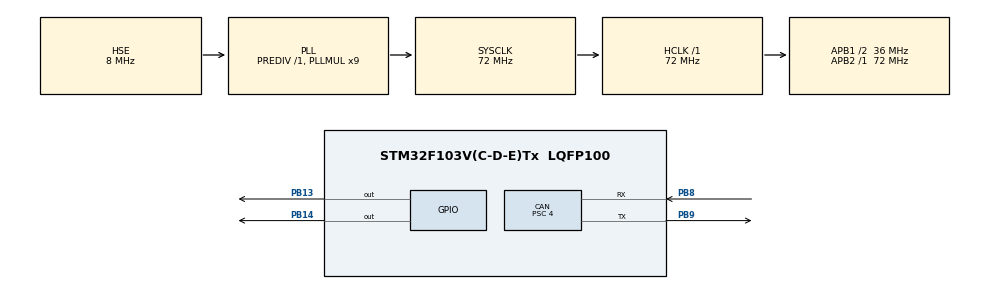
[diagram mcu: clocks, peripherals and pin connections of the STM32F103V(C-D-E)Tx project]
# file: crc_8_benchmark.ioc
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CAN.ABOM=ENABLE
CAN.BS1=CAN_BS1_14TQ
CAN.BS2=CAN_BS2_3TQ
CAN.CalculateBaudRate=500000
CAN.CalculateTimeBit=2000
CAN.CalculateTimeQuantum=111.11111111111111
CAN.Prescaler=4
CAN.SJW=CAN_SJW_2TQ
Mcu.Family=STM32F1
Mcu.Name=STM32F103V(C-D-E)Tx
Mcu.Package=LQFP100
NVIC.PriorityGroup=NVIC_PRIORITYGROUP_2
NVIC.TIM3_IRQn=true\:0\:1\:false\:false\:true\:true\:true\:true
NVIC.USB_LP_CAN1_RX0_IRQn=true\:1\:0\:true\:false\:true\:true\:true\:true
OSC_IN.Mode=HSE-External-Oscillator
OSC_IN.Signal=RCC_OSC_IN
OSC_OUT.Mode=HSE-External-Oscillator
OSC_OUT.Signal=RCC_OSC_OUT
PA13.Mode=Serial_Wire
PA13.Signal=SYS_JTMS-SWDIO
PA14.Mode=Serial_Wire
PA14.Signal=SYS_JTCK-SWCLK
PB13.GPIO_PuPd=GPIO_PULLUP
PB13.Signal=GPIO_Output
PB14.GPIO_PuPd=GPIO_PULLUP
PB14.Signal=GPIO_Output
PB8.GPIO_PuPd=GPIO_PULLUP
PB8.Mode=CAN_Activate
PB8.Signal=CAN_RX
PB9.Mode=CAN_Activate
PB9.Signal=CAN_TX
ProjectManager.HeapSize=0x200
ProjectManager.StackSize=0x400
ProjectManager.TargetToolchain=STM32CubeIDE
RCC.AHBFreq_Value=72000000
RCC.APB1CLKDivider=RCC_HCLK_DIV2
RCC.APB1Freq_Value=36000000
RCC.APB1TimFreq_Value=72000000
RCC.APB2Freq_Value=72000000
RCC.APB2TimFreq_Value=72000000
RCC.HCLKFreq_Value=72000000
RCC.PLLMUL=RCC_PLL_MUL9
RCC.PLLSourceVirtual=RCC_PLLSOURCE_HSE
RCC.SYSCLKFreq_VALUE=72000000
RCC.SYSCLKSource=RCC_SYSCLKSOURCE_PLLCLK
RCC.USBFreq_Value=72000000
TIM3.AutoReloadPreload=TIM_AUTORELOAD_PRELOAD_ENABLE
TIM3.Period=100-1
TIM3.Prescaler=720-1
VP_TIM3_VS_ClockSourceINT.Mode=Internal
board=custom

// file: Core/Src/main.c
/* USER CODE BEGIN Header */
/**
  ******************************************************************************
  * @file           : main.c
  * @brief          : Main program body
  ******************************************************************************
  * @attention
  *
  * Copyright (c) 2024 STMicroelectronics.
  * All rights reserved.
  *
  * This software is licensed under terms that can be found in the LICENSE file
  * in the root directory of this software component.
  * If no LICENSE file comes with this software, it is provided AS-IS.
  *
  ******************************************************************************
  */
/* USER CODE END Header */
#include "main.h"
#include "can.h"
#include "tim.h"
#include "gpio.h"

void SystemClock_Config(void);

int main(void)
{

  /* MCU Configuration--------------------------------------------------------*/

  /* Reset of all peripherals, Initializes the Flash interface and the Systick. */
  HAL_Init();

  /* Configure the system clock */
  SystemClock_Config();

  /* Initialize all configured peripherals */
  MX_GPIO_Init();
  MX_TIM3_Init();
  MX_CAN_Init();
  /* USER CODE BEGIN 2 */
  if (HAL_CAN_Start(&hcan) != HAL_OK)
  {
    Error_Handler();
  }
  if (HAL_CAN_ActivateNotification(&hcan, CAN_IT_RX_FIFO0_MSG_PENDING) != HAL_OK)
  {
    Error_Handler();
  }
  HAL_TIM_Base_Start_IT(&htim3);
  /* USER CODE END 2 */

  /* Infinite loop */
  /* USER CODE BEGIN WHILE */
  HAL_GPIO_WritePin(GPIOB, GPIO_PIN_13, GPIO_PIN_RESET);
  HAL_GPIO_WritePin(GPIOB, GPIO_PIN_14, GPIO_PIN_RESET);
  while (1)
  {
	  if (TIM_Flag_10ms == 1)
	  {

		  if (TIM_Flag_1s == 1)
		  {
			  HAL_GPIO_TogglePin(GPIOB, GPIO_PIN_13);

			  TIM_Flag_1s = 0;
		  }

		  TIM_Flag_10ms = 0;
	  }
    /* USER CODE END WHILE */

  }
}

void SystemClock_Config(void)
{
  RCC_OscInitTypeDef RCC_OscInitStruct = {0};
  RCC_ClkInitTypeDef RCC_ClkInitStruct = {0};

  /** Initializes the RCC Oscillators according to the specified parameters
  * in the RCC_OscInitTypeDef structure.
  */
  RCC_OscInitStruct.OscillatorType = RCC_OSCILLATORTYPE_HSE;
  RCC_OscInitStruct.HSEState = RCC_HSE_ON;
  RCC_OscInitStruct.HSEPredivValue = RCC_HSE_PREDIV_DIV1;
  RCC_OscInitStruct.HSIState = RCC_HSI_ON;
  RCC_OscInitStruct.PLL.PLLState = RCC_PLL_ON;
  RCC_OscInitStruct.PLL.PLLSource = RCC_PLLSOURCE_HSE;
  RCC_OscInitStruct.PLL.PLLMUL = RCC_PLL_MUL9;
  if (HAL_RCC_OscConfig(&RCC_OscInitStruct) != HAL_OK)
  {
    Error_Handler();
  }

  /** Initializes the CPU, AHB and APB buses clocks
  */
  RCC_ClkInitStruct.ClockType = RCC_CLOCKTYPE_HCLK|RCC_CLOCKTYPE_SYSCLK
                              |RCC_CLOCKTYPE_PCLK1|RCC_CLOCKTYPE_PCLK2;
  RCC_ClkInitStruct.SYSCLKSource = RCC_SYSCLKSOURCE_PLLCLK;
  RCC_ClkInitStruct.AHBCLKDivider = RCC_SYSCLK_DIV1;
  RCC_ClkInitStruct.APB1CLKDivider = RCC_HCLK_DIV2;
  RCC_ClkInitStruct.APB2CLKDivider = RCC_HCLK_DIV1;

  if (HAL_RCC_ClockConfig(&RCC_ClkInitStruct, FLASH_LATENCY_2) != HAL_OK)
  {
    Error_Handler();
  }
}

/* USER CODE BEGIN 4 */
void crc_8_benchmark(u8 mode)
{
  u8 i=0;
  u8 j=0;
  RT_MODEL_crc_8_general_T crc_8_general_M;
  crc_8_general_initialize(&crc_8_general_M);
  RT_MODEL_crc_8_optimized_T crc_8_optimized_M;
  crc_8_optimized_initialize(&crc_8_optimized_M);
  u8 data[8];

  if(mode == 0)
  {
    data[0] = 0x0F;
    data[1] = 0xAA;
    data[2] = 0x00;
    data[3] = 0x55;
    data[4] = 0xFF;
    data[5] = 0xFF;
    data[6] = 0xFF;
    data[7] = 0xFF;

    //simulink_crc_8_general_checksum
    data[7] = crc_8_general_step(&crc_8_general_M,data[0],data[1],data[2],data[3]);
    CAN1_Send_Msg(0x101,data,8,0);

    //simulink_crc_8_optimized_checksum
    u8 k = 0;
    u8 in1[8]={data[0],data[1],data[2],data[3],data[4],data[5],data[6],data[7]};
    u8 in2[8]={1,0,0,0,0,0,0,0};
    u8 in3[8]={0,0,0,1,0,0,0,0};
    u8 in4[8]={1,1,1,1,0,0,0,0};
    u8 out;
    for(k=0;k<8;k++)
    {
      out = crc_8_optimized_step(&crc_8_optimized_M,in1[k],in2[k],in3[k],in4[k]);
      if(k==7) data[7]=out;
    }
    CAN1_Send_Msg(0x102,data,8,0);

    //manual_crc_8_bitwise_operation
    data[7]=crc8(data,4);
    CAN1_Send_Msg(0x103,data,8,0);
  }
  else if(mode <=3)
  {
		    /* crc_8_benchmark_start */
		    data[0] = RT_h;
		    data[1] = RT_m;
		    data[2] = RT_s;
		    data[3] = 0xFF;
		    data[4] = 0xFF;
		    data[5] = 0xFF;
		    data[6] = (u8)(TIM_Cnt<<8);
		    data[7] = (u8)(TIM_Cnt<<8>>8);
		    CAN1_Send_Msg(0x201,data,8,0);

		    //crc_8_j-1850_result_check

		    //simulink_crc_8_general
		    if(mode == 1)
		    {
		        for(i=0;i<100;i++)
		        {
		          for(j=0;j<100;j++)
		          {
		            data[0] = i;
		            data[1] = j;
		            data[2] = i;
		            data[3] = j;
		            crc_8_general_step(&crc_8_general_M,data[0],data[1],data[2],data[3]);
		          }
		        }
		    }

		    //simulink_crc_8_optimized
		    if(mode == 2)
		    {
		        for(i=0;i<100;i++)
		        {
		          for(j=0;j<100;j++)
		          {
		            data[0] = i;
		            data[1] = j;
		            data[2] = i;
		            data[3] = j;
		            u8 k = 0;
		            u8 in1[8]={data[0],data[1],data[2],data[3],data[4],data[5],data[6],data[7]};
		            u8 in2[8]={1,0,0,0,0,0,0,0};
		            u8 in3[8]={0,0,0,1,0,0,0,0};
		            u8 in4[8]={1,1,1,1,0,0,0,0};
		            u8 out;
		            for(k=0;k<8;k++)
		            {
		              crc_8_optimized_step(&crc_8_optimized_M,in1[k],in2[k],in3[k],in4[k]);
		            }
		          }
		        }
		    }

		    //manual_crc_8_bitwise_operation
		    if(mode == 3)
		    {
		        for(i=0;i<100;i++)
		        {
		          for(j=0;j<100;j++)
		          {
		            data[0] = i;
		            data[1] = j;
		            data[2] = i;
		            data[3] = j;
		            crc8(data,4);
		          }
		        }
		    }

		    data[0] = RT_h;
		    data[1] = RT_m;
		    data[2] = RT_s;
		    data[3] = 0xFF;
		    data[4] = 0xFF;
		    data[5] = 0xFF;
		    data[6] = (u8)(TIM_Cnt<<8);
		    data[7] = (u8)(TIM_Cnt<<8>>8);
		    CAN1_Send_Msg(0x202,data,8,0);
		    /* crc_8_benchmark_end */
  }
}
/* USER CODE END 4 */

void Error_Handler(void)
{
  /* USER CODE BEGIN Error_Handler_Debug */
  /* User can add his own implementation to report the HAL error return state */
  __disable_irq();
  while (1)
  {
	  HAL_GPIO_WritePin(GPIOB, GPIO_PIN_13, GPIO_PIN_SET);
	  HAL_GPIO_WritePin(GPIOB, GPIO_PIN_14, GPIO_PIN_SET);
  }
  /* USER CODE END Error_Handler_Debug */
}
